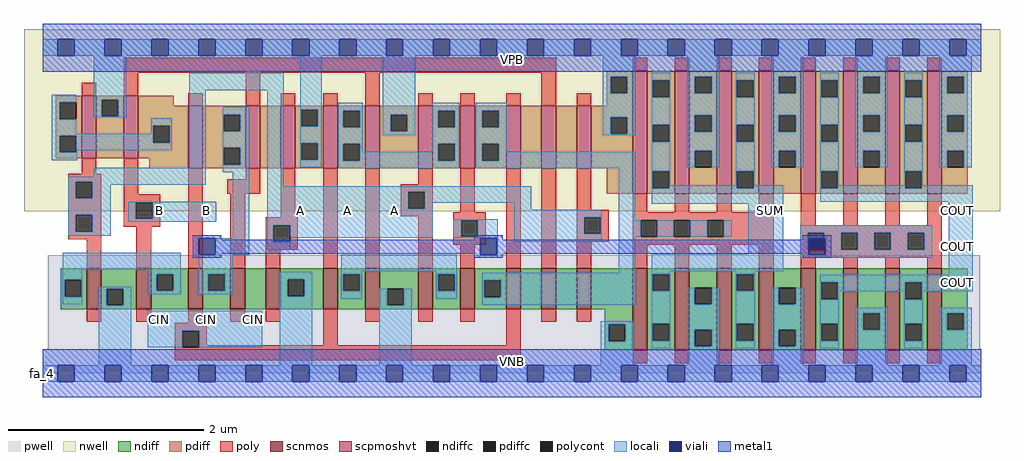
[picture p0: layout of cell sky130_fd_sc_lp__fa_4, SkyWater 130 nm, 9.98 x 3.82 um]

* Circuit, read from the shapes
.subckt sky130_fd_sc_lp__fa_4 A B CIN VGND VNB VPB VPWR COUT SUM
XM1 VGND A n1 VNB sky130_fd_pr__nfet_01v8 w=0.42 l=0.15
XM2 n1 B VGND VNB sky130_fd_pr__nfet_01v8 w=0.42 l=0.15
XM3 n2 CIN n1 VNB sky130_fd_pr__nfet_01v8 w=0.42 l=0.15
XM4 n3 B n2 VNB sky130_fd_pr__nfet_01v8 w=0.42 l=0.15
XM5 VGND A n3 VNB sky130_fd_pr__nfet_01v8 w=0.42 l=0.15
XM6 n4 CIN VGND VNB sky130_fd_pr__nfet_01v8 w=0.42 l=0.15
XM7 VGND B n4 VNB sky130_fd_pr__nfet_01v8 w=0.42 l=0.15
XM8 n4 A VGND VNB sky130_fd_pr__nfet_01v8 w=0.42 l=0.15
XM9 n5 n2 n4 VNB sky130_fd_pr__nfet_01v8 w=0.42 l=0.15
XM10 n6 CIN n5 VNB sky130_fd_pr__nfet_01v8 w=0.42 l=0.15
XM11 n7 B n6 VNB sky130_fd_pr__nfet_01v8 w=0.42 l=0.15
XM12 VGND A n7 VNB sky130_fd_pr__nfet_01v8 w=0.42 l=0.15
XM13 SUM n5 VGND VNB sky130_fd_pr__nfet_01v8 w=0.84 l=0.15 m=4
XM14 COUT n2 VGND VNB sky130_fd_pr__nfet_01v8 w=0.84 l=0.15 m=4
XM15 VPWR A n8 VPB sky130_fd_pr__pfet_01v8_hvt w=0.64 l=0.15
XM16 n8 B VPWR VPB sky130_fd_pr__pfet_01v8_hvt w=0.64 l=0.15
XM17 n2 CIN n8 VPB sky130_fd_pr__pfet_01v8_hvt w=0.64 l=0.15
XM18 n9 B n2 VPB sky130_fd_pr__pfet_01v8_hvt w=0.64 l=0.15
XM19 VPWR A n9 VPB sky130_fd_pr__pfet_01v8_hvt w=0.64 l=0.15
XM20 n10 CIN VPWR VPB sky130_fd_pr__pfet_01v8_hvt w=0.64 l=0.15
XM21 VPWR B n10 VPB sky130_fd_pr__pfet_01v8_hvt w=0.64 l=0.15
XM22 n10 A VPWR VPB sky130_fd_pr__pfet_01v8_hvt w=0.64 l=0.15
XM23 n5 n2 n10 VPB sky130_fd_pr__pfet_01v8_hvt w=0.64 l=0.15
XM24 n11 CIN n5 VPB sky130_fd_pr__pfet_01v8_hvt w=0.64 l=0.15
XM25 n12 B n11 VPB sky130_fd_pr__pfet_01v8_hvt w=0.64 l=0.15
XM26 VPWR A n12 VPB sky130_fd_pr__pfet_01v8_hvt w=0.64 l=0.15
XM27 SUM n5 VPWR VPB sky130_fd_pr__pfet_01v8_hvt w=1.26 l=0.15 m=4
XM28 COUT n2 VPWR VPB sky130_fd_pr__pfet_01v8_hvt w=1.26 l=0.15 m=4
.ends

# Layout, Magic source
magic
tech sky130A
magscale 1 2
<< nwell >>
rect -38 331 1958 704
<< pwell >>
rect 11 49 1918 241
rect 0 0 1920 49
<< scnmos >>
rect 90 131 120 215
rect 192 131 222 215
rect 298 131 328 215
rect 384 131 414 215
rect 456 131 486 215
rect 574 131 604 215
rect 660 131 690 215
rect 768 131 798 215
rect 854 131 884 215
rect 948 131 978 215
rect 1020 131 1050 215
rect 1092 131 1122 215
rect 1207 47 1237 215
rect 1293 47 1323 215
rect 1379 47 1409 215
rect 1465 47 1495 215
rect 1551 47 1581 215
rect 1637 47 1667 215
rect 1723 47 1753 215
rect 1809 47 1839 215
<< scpmoshvt >>
rect 80 440 110 568
rect 166 440 196 568
rect 298 419 328 547
rect 415 419 445 547
rect 487 419 517 547
rect 574 419 604 547
rect 660 419 690 547
rect 768 419 798 547
rect 854 419 884 547
rect 948 419 978 547
rect 1020 419 1050 547
rect 1092 419 1122 547
rect 1207 367 1237 619
rect 1293 367 1323 619
rect 1379 367 1409 619
rect 1465 367 1495 619
rect 1551 367 1581 619
rect 1637 367 1667 619
rect 1723 367 1753 619
rect 1809 367 1839 619
<< ndiff >>
rect 37 191 90 215
rect 37 157 45 191
rect 79 157 90 191
rect 37 131 90 157
rect 120 173 192 215
rect 120 139 131 173
rect 165 139 192 173
rect 120 131 192 139
rect 222 203 298 215
rect 222 169 233 203
rect 267 169 298 203
rect 222 131 298 169
rect 328 203 384 215
rect 328 169 339 203
rect 373 169 384 203
rect 328 131 384 169
rect 414 131 456 215
rect 486 192 574 215
rect 486 158 501 192
rect 535 158 574 192
rect 486 131 574 158
rect 604 203 660 215
rect 604 169 615 203
rect 649 169 660 203
rect 604 131 660 169
rect 690 173 768 215
rect 690 139 705 173
rect 739 139 768 173
rect 690 131 768 139
rect 798 203 854 215
rect 798 169 809 203
rect 843 169 854 203
rect 798 131 854 169
rect 884 190 948 215
rect 884 156 903 190
rect 937 156 948 190
rect 884 131 948 156
rect 978 131 1020 215
rect 1050 131 1092 215
rect 1122 131 1207 215
rect 1150 100 1207 131
rect 1150 66 1158 100
rect 1192 66 1207 100
rect 1150 47 1207 66
rect 1237 203 1293 215
rect 1237 169 1248 203
rect 1282 169 1293 203
rect 1237 101 1293 169
rect 1237 67 1248 101
rect 1282 67 1293 101
rect 1237 47 1293 67
rect 1323 175 1379 215
rect 1323 141 1334 175
rect 1368 141 1379 175
rect 1323 89 1379 141
rect 1323 55 1334 89
rect 1368 55 1379 89
rect 1323 47 1379 55
rect 1409 203 1465 215
rect 1409 169 1420 203
rect 1454 169 1465 203
rect 1409 101 1465 169
rect 1409 67 1420 101
rect 1454 67 1465 101
rect 1409 47 1465 67
rect 1495 175 1551 215
rect 1495 141 1506 175
rect 1540 141 1551 175
rect 1495 89 1551 141
rect 1495 55 1506 89
rect 1540 55 1551 89
rect 1495 47 1551 55
rect 1581 186 1637 215
rect 1581 152 1592 186
rect 1626 152 1637 186
rect 1581 101 1637 152
rect 1581 67 1592 101
rect 1626 67 1637 101
rect 1581 47 1637 67
rect 1667 123 1723 215
rect 1667 89 1678 123
rect 1712 89 1723 123
rect 1667 47 1723 89
rect 1753 186 1809 215
rect 1753 152 1764 186
rect 1798 152 1809 186
rect 1753 101 1809 152
rect 1753 67 1764 101
rect 1798 67 1809 101
rect 1753 47 1809 67
rect 1839 123 1892 215
rect 1839 89 1850 123
rect 1884 89 1892 123
rect 1839 47 1892 89
<< pdiff >>
rect 27 554 80 568
rect 27 520 35 554
rect 69 520 80 554
rect 27 486 80 520
rect 27 452 35 486
rect 69 452 80 486
rect 27 440 80 452
rect 110 560 166 568
rect 110 526 121 560
rect 155 526 166 560
rect 110 440 166 526
rect 196 547 268 568
rect 1154 607 1207 619
rect 1154 573 1162 607
rect 1196 573 1207 607
rect 1154 547 1207 573
rect 196 506 298 547
rect 196 472 226 506
rect 260 472 298 506
rect 196 440 298 472
rect 218 419 298 440
rect 328 529 415 547
rect 328 495 370 529
rect 404 495 415 529
rect 328 461 415 495
rect 328 427 370 461
rect 404 427 415 461
rect 328 419 415 427
rect 445 419 487 547
rect 517 539 574 547
rect 517 505 529 539
rect 563 505 574 539
rect 517 471 574 505
rect 517 437 529 471
rect 563 437 574 471
rect 517 419 574 437
rect 604 537 660 547
rect 604 503 615 537
rect 649 503 660 537
rect 604 469 660 503
rect 604 435 615 469
rect 649 435 660 469
rect 604 419 660 435
rect 690 529 768 547
rect 690 495 712 529
rect 746 495 768 529
rect 690 419 768 495
rect 798 537 854 547
rect 798 503 809 537
rect 843 503 854 537
rect 798 469 854 503
rect 798 435 809 469
rect 843 435 854 469
rect 798 419 854 435
rect 884 537 948 547
rect 884 503 899 537
rect 933 503 948 537
rect 884 469 948 503
rect 884 435 899 469
rect 933 435 948 469
rect 884 419 948 435
rect 978 419 1020 547
rect 1050 419 1092 547
rect 1122 524 1207 547
rect 1122 490 1162 524
rect 1196 490 1207 524
rect 1122 419 1207 490
rect 1154 367 1207 419
rect 1237 599 1293 619
rect 1237 565 1248 599
rect 1282 565 1293 599
rect 1237 508 1293 565
rect 1237 474 1248 508
rect 1282 474 1293 508
rect 1237 413 1293 474
rect 1237 379 1248 413
rect 1282 379 1293 413
rect 1237 367 1293 379
rect 1323 607 1379 619
rect 1323 573 1334 607
rect 1368 573 1379 607
rect 1323 528 1379 573
rect 1323 494 1334 528
rect 1368 494 1379 528
rect 1323 455 1379 494
rect 1323 421 1334 455
rect 1368 421 1379 455
rect 1323 367 1379 421
rect 1409 599 1465 619
rect 1409 565 1420 599
rect 1454 565 1465 599
rect 1409 508 1465 565
rect 1409 474 1420 508
rect 1454 474 1465 508
rect 1409 413 1465 474
rect 1409 379 1420 413
rect 1454 379 1465 413
rect 1409 367 1465 379
rect 1495 607 1551 619
rect 1495 573 1506 607
rect 1540 573 1551 607
rect 1495 528 1551 573
rect 1495 494 1506 528
rect 1540 494 1551 528
rect 1495 455 1551 494
rect 1495 421 1506 455
rect 1540 421 1551 455
rect 1495 367 1551 421
rect 1581 599 1637 619
rect 1581 565 1592 599
rect 1626 565 1637 599
rect 1581 508 1637 565
rect 1581 474 1592 508
rect 1626 474 1637 508
rect 1581 413 1637 474
rect 1581 379 1592 413
rect 1626 379 1637 413
rect 1581 367 1637 379
rect 1667 607 1723 619
rect 1667 573 1678 607
rect 1712 573 1723 607
rect 1667 528 1723 573
rect 1667 494 1678 528
rect 1712 494 1723 528
rect 1667 455 1723 494
rect 1667 421 1678 455
rect 1712 421 1723 455
rect 1667 367 1723 421
rect 1753 599 1809 619
rect 1753 565 1764 599
rect 1798 565 1809 599
rect 1753 508 1809 565
rect 1753 474 1764 508
rect 1798 474 1809 508
rect 1753 413 1809 474
rect 1753 379 1764 413
rect 1798 379 1809 413
rect 1753 367 1809 379
rect 1839 607 1892 619
rect 1839 573 1850 607
rect 1884 573 1892 607
rect 1839 528 1892 573
rect 1839 494 1850 528
rect 1884 494 1892 528
rect 1839 455 1892 494
rect 1839 421 1850 455
rect 1884 421 1892 455
rect 1839 367 1892 421
<< ndiffc >>
rect 45 157 79 191
rect 131 139 165 173
rect 233 169 267 203
rect 339 169 373 203
rect 501 158 535 192
rect 615 169 649 203
rect 705 139 739 173
rect 809 169 843 203
rect 903 156 937 190
rect 1158 66 1192 100
rect 1248 169 1282 203
rect 1248 67 1282 101
rect 1334 141 1368 175
rect 1334 55 1368 89
rect 1420 169 1454 203
rect 1420 67 1454 101
rect 1506 141 1540 175
rect 1506 55 1540 89
rect 1592 152 1626 186
rect 1592 67 1626 101
rect 1678 89 1712 123
rect 1764 152 1798 186
rect 1764 67 1798 101
rect 1850 89 1884 123
<< pdiffc >>
rect 35 520 69 554
rect 35 452 69 486
rect 121 526 155 560
rect 1162 573 1196 607
rect 226 472 260 506
rect 370 495 404 529
rect 370 427 404 461
rect 529 505 563 539
rect 529 437 563 471
rect 615 503 649 537
rect 615 435 649 469
rect 712 495 746 529
rect 809 503 843 537
rect 809 435 843 469
rect 899 503 933 537
rect 899 435 933 469
rect 1162 490 1196 524
rect 1248 565 1282 599
rect 1248 474 1282 508
rect 1248 379 1282 413
rect 1334 573 1368 607
rect 1334 494 1368 528
rect 1334 421 1368 455
rect 1420 565 1454 599
rect 1420 474 1454 508
rect 1420 379 1454 413
rect 1506 573 1540 607
rect 1506 494 1540 528
rect 1506 421 1540 455
rect 1592 565 1626 599
rect 1592 474 1626 508
rect 1592 379 1626 413
rect 1678 573 1712 607
rect 1678 494 1712 528
rect 1678 421 1712 455
rect 1764 565 1798 599
rect 1764 474 1798 508
rect 1764 379 1798 413
rect 1850 573 1884 607
rect 1850 494 1884 528
rect 1850 421 1884 455
<< poly >>
rect 166 615 1050 645
rect 1207 619 1237 645
rect 1293 619 1323 645
rect 1379 619 1409 645
rect 1465 619 1495 645
rect 1551 619 1581 645
rect 1637 619 1667 645
rect 1723 619 1753 645
rect 1809 619 1839 645
rect 80 568 110 594
rect 166 568 196 615
rect 298 547 328 573
rect 415 547 445 615
rect 487 547 517 573
rect 574 547 604 573
rect 660 547 690 615
rect 768 547 798 573
rect 854 547 884 573
rect 948 547 978 573
rect 1020 547 1050 615
rect 1092 547 1122 573
rect 80 408 110 440
rect 52 392 120 408
rect 52 358 68 392
rect 102 358 120 392
rect 52 324 120 358
rect 52 290 68 324
rect 102 290 120 324
rect 166 366 196 440
rect 166 350 241 366
rect 166 316 191 350
rect 225 316 241 350
rect 166 300 241 316
rect 52 274 120 290
rect 90 215 120 274
rect 192 215 222 300
rect 298 215 328 419
rect 415 397 445 419
rect 378 367 445 397
rect 384 215 414 367
rect 487 319 517 419
rect 456 303 522 319
rect 456 269 472 303
rect 506 269 522 303
rect 456 253 522 269
rect 456 215 486 253
rect 574 215 604 419
rect 660 215 690 419
rect 768 387 798 419
rect 732 371 798 387
rect 732 337 748 371
rect 782 337 798 371
rect 732 321 798 337
rect 854 329 884 419
rect 768 215 798 321
rect 840 313 906 329
rect 840 279 856 313
rect 890 279 906 313
rect 840 263 906 279
rect 854 215 884 263
rect 948 215 978 419
rect 1020 215 1050 419
rect 1092 335 1122 419
rect 1092 319 1158 335
rect 1092 285 1108 319
rect 1142 285 1158 319
rect 1092 269 1158 285
rect 1207 329 1237 367
rect 1293 329 1323 367
rect 1379 329 1409 367
rect 1465 329 1495 367
rect 1207 313 1495 329
rect 1207 279 1223 313
rect 1257 279 1291 313
rect 1325 279 1359 313
rect 1393 279 1495 313
rect 1551 303 1581 367
rect 1637 303 1667 367
rect 1723 303 1753 367
rect 1809 303 1839 367
rect 1092 215 1122 269
rect 1207 263 1495 279
rect 1207 215 1237 263
rect 1293 215 1323 263
rect 1379 215 1409 263
rect 1465 215 1495 263
rect 1549 287 1839 303
rect 1549 253 1565 287
rect 1599 253 1633 287
rect 1667 253 1701 287
rect 1735 253 1769 287
rect 1803 253 1839 287
rect 1549 237 1839 253
rect 1551 215 1581 237
rect 1637 215 1667 237
rect 1723 215 1753 237
rect 1809 215 1839 237
rect 90 105 120 131
rect 192 105 222 131
rect 298 103 328 131
rect 384 105 414 131
rect 456 105 486 131
rect 270 87 336 103
rect 270 53 286 87
rect 320 57 336 87
rect 574 57 604 131
rect 660 105 690 131
rect 768 105 798 131
rect 854 105 884 131
rect 948 57 978 131
rect 1020 105 1050 131
rect 1092 105 1122 131
rect 320 53 978 57
rect 270 27 978 53
rect 1207 21 1237 47
rect 1293 21 1323 47
rect 1379 21 1409 47
rect 1465 21 1495 47
rect 1551 21 1581 47
rect 1637 21 1667 47
rect 1723 21 1753 47
rect 1809 21 1839 47
<< polycont >>
rect 68 358 102 392
rect 68 290 102 324
rect 191 316 225 350
rect 472 269 506 303
rect 748 337 782 371
rect 856 279 890 313
rect 1108 285 1142 319
rect 1223 279 1257 313
rect 1291 279 1325 313
rect 1359 279 1393 313
rect 1565 253 1599 287
rect 1633 253 1667 287
rect 1701 253 1735 287
rect 1769 253 1803 287
rect 286 53 320 87
<< locali >>
rect 0 649 31 683
rect 65 649 127 683
rect 161 649 223 683
rect 257 649 319 683
rect 353 649 415 683
rect 449 649 511 683
rect 545 649 607 683
rect 641 649 703 683
rect 737 649 799 683
rect 833 649 895 683
rect 929 649 991 683
rect 1025 649 1087 683
rect 1121 649 1183 683
rect 1217 649 1279 683
rect 1313 649 1375 683
rect 1409 649 1471 683
rect 1505 649 1567 683
rect 1601 649 1663 683
rect 1697 649 1759 683
rect 1793 649 1855 683
rect 1889 649 1920 683
rect 19 554 69 570
rect 19 520 35 554
rect 105 560 171 649
rect 105 526 121 560
rect 155 526 171 560
rect 105 524 171 526
rect 300 579 493 615
rect 19 490 69 520
rect 222 506 264 522
rect 222 490 226 506
rect 19 486 226 490
rect 19 452 35 486
rect 69 472 226 486
rect 260 472 264 506
rect 69 456 264 472
rect 69 452 71 456
rect 19 436 71 452
rect 300 420 334 579
rect 105 402 334 420
rect 368 529 423 545
rect 368 495 370 529
rect 404 495 423 529
rect 368 461 423 495
rect 368 427 370 461
rect 404 427 423 461
rect 368 411 423 427
rect 52 392 334 402
rect 52 358 68 392
rect 102 386 334 392
rect 102 358 139 386
rect 52 324 139 358
rect 52 290 68 324
rect 102 290 139 324
rect 175 350 355 351
rect 175 316 191 350
rect 225 316 355 350
rect 175 310 355 316
rect 52 281 139 290
rect 389 276 423 411
rect 41 213 283 247
rect 41 191 81 213
rect 41 157 45 191
rect 79 157 81 191
rect 217 203 283 213
rect 41 141 81 157
rect 115 173 181 177
rect 115 139 131 173
rect 165 139 181 173
rect 217 169 233 203
rect 267 169 283 203
rect 217 162 283 169
rect 353 242 423 276
rect 459 383 493 579
rect 527 539 571 649
rect 527 505 529 539
rect 563 505 571 539
rect 527 471 571 505
rect 527 437 529 471
rect 563 437 571 471
rect 527 421 571 437
rect 605 537 655 553
rect 605 503 615 537
rect 649 503 655 537
rect 605 469 655 503
rect 696 529 762 649
rect 1146 607 1212 649
rect 1146 573 1162 607
rect 1196 573 1212 607
rect 696 495 712 529
rect 746 495 762 529
rect 696 487 762 495
rect 796 537 852 553
rect 796 503 809 537
rect 843 503 852 537
rect 605 435 615 469
rect 649 453 655 469
rect 796 469 852 503
rect 796 453 809 469
rect 649 435 809 453
rect 843 435 852 469
rect 605 419 852 435
rect 886 537 949 553
rect 886 503 899 537
rect 933 503 949 537
rect 886 469 949 503
rect 1146 524 1212 573
rect 1146 490 1162 524
rect 1196 490 1212 524
rect 1146 487 1212 490
rect 1246 599 1284 615
rect 1246 565 1248 599
rect 1282 565 1284 599
rect 1246 508 1284 565
rect 886 435 899 469
rect 933 453 949 469
rect 1246 474 1248 508
rect 1282 474 1284 508
rect 933 435 1212 453
rect 886 419 1212 435
rect 459 371 999 383
rect 459 337 748 371
rect 782 349 999 371
rect 782 337 798 349
rect 459 303 798 337
rect 965 335 999 349
rect 965 319 1144 335
rect 459 269 472 303
rect 506 277 798 303
rect 840 313 931 315
rect 840 279 856 313
rect 890 279 931 313
rect 840 277 931 279
rect 459 253 506 269
rect 895 276 931 277
rect 319 203 389 242
rect 611 209 847 243
rect 929 242 931 276
rect 965 285 1108 319
rect 1142 285 1144 319
rect 965 269 1144 285
rect 1178 313 1212 419
rect 1246 413 1284 474
rect 1318 607 1384 649
rect 1318 573 1334 607
rect 1368 573 1384 607
rect 1318 528 1384 573
rect 1318 494 1334 528
rect 1368 494 1384 528
rect 1318 455 1384 494
rect 1318 421 1334 455
rect 1368 421 1384 455
rect 1418 599 1456 615
rect 1418 565 1420 599
rect 1454 565 1456 599
rect 1418 508 1456 565
rect 1418 474 1420 508
rect 1454 474 1456 508
rect 1246 379 1248 413
rect 1282 385 1284 413
rect 1418 413 1456 474
rect 1490 607 1556 649
rect 1490 573 1506 607
rect 1540 573 1556 607
rect 1490 528 1556 573
rect 1490 494 1506 528
rect 1540 494 1556 528
rect 1490 455 1556 494
rect 1490 421 1506 455
rect 1540 421 1556 455
rect 1590 599 1628 615
rect 1590 565 1592 599
rect 1626 565 1628 599
rect 1590 508 1628 565
rect 1590 474 1592 508
rect 1626 474 1628 508
rect 1418 385 1420 413
rect 1282 379 1420 385
rect 1454 385 1456 413
rect 1590 413 1628 474
rect 1662 607 1728 649
rect 1662 573 1678 607
rect 1712 573 1728 607
rect 1662 528 1728 573
rect 1662 494 1678 528
rect 1712 494 1728 528
rect 1662 455 1728 494
rect 1662 421 1678 455
rect 1712 421 1728 455
rect 1762 599 1800 615
rect 1762 565 1764 599
rect 1798 565 1800 599
rect 1762 508 1800 565
rect 1762 474 1764 508
rect 1798 474 1800 508
rect 1454 379 1515 385
rect 1246 347 1515 379
rect 1590 379 1592 413
rect 1626 385 1628 413
rect 1762 413 1800 474
rect 1834 607 1900 649
rect 1834 573 1850 607
rect 1884 573 1900 607
rect 1834 528 1900 573
rect 1834 494 1850 528
rect 1884 494 1900 528
rect 1834 455 1900 494
rect 1834 421 1850 455
rect 1884 421 1900 455
rect 1762 385 1764 413
rect 1626 379 1764 385
rect 1798 385 1800 413
rect 1798 379 1902 385
rect 1590 351 1902 379
rect 1178 279 1223 313
rect 1257 279 1291 313
rect 1325 279 1359 313
rect 1393 279 1409 313
rect 895 240 931 242
rect 319 169 339 203
rect 373 169 389 203
rect 319 162 389 169
rect 485 192 551 208
rect 115 17 181 139
rect 485 158 501 192
rect 535 158 551 192
rect 215 87 449 128
rect 215 53 286 87
rect 320 53 449 87
rect 485 17 551 158
rect 611 203 653 209
rect 611 169 615 203
rect 649 169 653 203
rect 805 203 847 209
rect 1178 206 1212 279
rect 1443 245 1515 347
rect 611 153 653 169
rect 689 139 705 173
rect 739 139 755 173
rect 805 169 809 203
rect 843 169 847 203
rect 805 153 847 169
rect 899 190 1212 206
rect 899 156 903 190
rect 937 156 1212 190
rect 899 140 1212 156
rect 1246 209 1515 245
rect 1549 287 1819 303
rect 1549 253 1565 287
rect 1599 276 1633 287
rect 1601 253 1633 276
rect 1667 253 1701 287
rect 1735 253 1769 287
rect 1803 253 1819 287
rect 1549 242 1567 253
rect 1601 242 1819 253
rect 1549 236 1819 242
rect 1246 203 1284 209
rect 1246 169 1248 203
rect 1282 169 1284 203
rect 1418 203 1456 209
rect 689 17 755 139
rect 1142 100 1208 106
rect 1142 66 1158 100
rect 1192 66 1208 100
rect 1142 17 1208 66
rect 1246 101 1284 169
rect 1246 67 1248 101
rect 1282 67 1284 101
rect 1246 51 1284 67
rect 1318 141 1334 175
rect 1368 141 1384 175
rect 1318 89 1384 141
rect 1318 55 1334 89
rect 1368 55 1384 89
rect 1318 17 1384 55
rect 1418 169 1420 203
rect 1454 169 1456 203
rect 1853 202 1902 351
rect 1590 186 1902 202
rect 1418 101 1456 169
rect 1418 67 1420 101
rect 1454 67 1456 101
rect 1418 51 1456 67
rect 1490 141 1506 175
rect 1540 141 1556 175
rect 1490 89 1556 141
rect 1490 55 1506 89
rect 1540 55 1556 89
rect 1490 17 1556 55
rect 1590 152 1592 186
rect 1626 168 1764 186
rect 1626 152 1628 168
rect 1590 101 1628 152
rect 1762 152 1764 168
rect 1798 168 1902 186
rect 1798 152 1800 168
rect 1590 67 1592 101
rect 1626 67 1628 101
rect 1590 51 1628 67
rect 1662 123 1728 134
rect 1662 89 1678 123
rect 1712 89 1728 123
rect 1662 17 1728 89
rect 1762 101 1800 152
rect 1762 67 1764 101
rect 1798 67 1800 101
rect 1762 51 1800 67
rect 1834 123 1900 134
rect 1834 89 1850 123
rect 1884 89 1900 123
rect 1834 17 1900 89
rect 0 -17 31 17
rect 65 -17 127 17
rect 161 -17 223 17
rect 257 -17 319 17
rect 353 -17 415 17
rect 449 -17 511 17
rect 545 -17 607 17
rect 641 -17 703 17
rect 737 -17 799 17
rect 833 -17 895 17
rect 929 -17 991 17
rect 1025 -17 1087 17
rect 1121 -17 1183 17
rect 1217 -17 1279 17
rect 1313 -17 1375 17
rect 1409 -17 1471 17
rect 1505 -17 1567 17
rect 1601 -17 1663 17
rect 1697 -17 1759 17
rect 1793 -17 1855 17
rect 1889 -17 1920 17
<< viali >>
rect 31 649 65 683
rect 127 649 161 683
rect 223 649 257 683
rect 319 649 353 683
rect 415 649 449 683
rect 511 649 545 683
rect 607 649 641 683
rect 703 649 737 683
rect 799 649 833 683
rect 895 649 929 683
rect 991 649 1025 683
rect 1087 649 1121 683
rect 1183 649 1217 683
rect 1279 649 1313 683
rect 1375 649 1409 683
rect 1471 649 1505 683
rect 1567 649 1601 683
rect 1663 649 1697 683
rect 1759 649 1793 683
rect 1855 649 1889 683
rect 319 242 353 276
rect 895 242 929 276
rect 1567 253 1599 276
rect 1599 253 1601 276
rect 1567 242 1601 253
rect 31 -17 65 17
rect 127 -17 161 17
rect 223 -17 257 17
rect 319 -17 353 17
rect 415 -17 449 17
rect 511 -17 545 17
rect 607 -17 641 17
rect 703 -17 737 17
rect 799 -17 833 17
rect 895 -17 929 17
rect 991 -17 1025 17
rect 1087 -17 1121 17
rect 1183 -17 1217 17
rect 1279 -17 1313 17
rect 1375 -17 1409 17
rect 1471 -17 1505 17
rect 1567 -17 1601 17
rect 1663 -17 1697 17
rect 1759 -17 1793 17
rect 1855 -17 1889 17
<< metal1 >>
rect 0 683 1920 715
rect 0 649 31 683
rect 65 649 127 683
rect 161 649 223 683
rect 257 649 319 683
rect 353 649 415 683
rect 449 649 511 683
rect 545 649 607 683
rect 641 649 703 683
rect 737 649 799 683
rect 833 649 895 683
rect 929 649 991 683
rect 1025 649 1087 683
rect 1121 649 1183 683
rect 1217 649 1279 683
rect 1313 649 1375 683
rect 1409 649 1471 683
rect 1505 649 1567 683
rect 1601 649 1663 683
rect 1697 649 1759 683
rect 1793 649 1855 683
rect 1889 649 1920 683
rect 0 617 1920 649
rect 307 276 365 282
rect 307 242 319 276
rect 353 273 365 276
rect 883 276 941 282
rect 883 273 895 276
rect 353 245 895 273
rect 353 242 365 245
rect 307 236 365 242
rect 883 242 895 245
rect 929 273 941 276
rect 1555 276 1613 282
rect 1555 273 1567 276
rect 929 245 1567 273
rect 929 242 941 245
rect 883 236 941 242
rect 1555 242 1567 245
rect 1601 242 1613 276
rect 1555 236 1613 242
rect 0 17 1920 49
rect 0 -17 31 17
rect 65 -17 127 17
rect 161 -17 223 17
rect 257 -17 319 17
rect 353 -17 415 17
rect 449 -17 511 17
rect 545 -17 607 17
rect 641 -17 703 17
rect 737 -17 799 17
rect 833 -17 895 17
rect 929 -17 991 17
rect 1025 -17 1087 17
rect 1121 -17 1183 17
rect 1217 -17 1279 17
rect 1313 -17 1375 17
rect 1409 -17 1471 17
rect 1505 -17 1567 17
rect 1601 -17 1663 17
rect 1697 -17 1759 17
rect 1793 -17 1855 17
rect 1889 -17 1920 17
rect 0 -49 1920 -17
<< labels >>
flabel pwell s 0 0 1920 49 0 FreeSans 200 0 0 0 VNB
port 5 nsew ground bidirectional
flabel nwell s 0 617 1920 666 0 FreeSans 200 0 0 0 VPB
port 6 nsew power bidirectional
rlabel comment s 0 0 0 0 4 fa_4
flabel metal1 s 0 617 1920 666 0 FreeSans 340 0 0 0 VPWR
port 7 nsew power bidirectional
flabel metal1 s 0 0 1920 49 0 FreeSans 340 0 0 0 VGND
port 4 nsew ground bidirectional
flabel locali s 223 316 257 350 0 FreeSans 340 0 0 0 B
port 2 nsew signal input
flabel locali s 319 316 353 350 0 FreeSans 340 0 0 0 B
port 2 nsew signal input
flabel locali s 511 316 545 350 0 FreeSans 340 0 0 0 A
port 1 nsew signal input
flabel locali s 607 316 641 350 0 FreeSans 340 0 0 0 A
port 1 nsew signal input
flabel locali s 703 316 737 350 0 FreeSans 340 0 0 0 A
port 1 nsew signal input
flabel locali s 1855 168 1889 202 0 FreeSans 340 0 0 0 COUT
port 8 nsew signal output
flabel locali s 1855 242 1889 276 0 FreeSans 340 0 0 0 COUT
port 8 nsew signal output
flabel locali s 1855 316 1889 350 0 FreeSans 340 0 0 0 COUT
port 8 nsew signal output
flabel locali s 1471 316 1505 350 0 FreeSans 340 0 0 0 SUM
port 9 nsew signal output
flabel locali s 223 94 257 128 0 FreeSans 340 0 0 0 CIN
port 3 nsew signal input
flabel locali s 319 94 353 128 0 FreeSans 340 0 0 0 CIN
port 3 nsew signal input
flabel locali s 415 94 449 128 0 FreeSans 340 0 0 0 CIN
port 3 nsew signal input
<< properties >>
string LEFsite unit
string LEFclass CORE
string FIXED_BBOX 0 0 1920 666
string GDS_FILE $PDKPATH/libs.ref/sky130_fd_sc_lp/gds/sky130_fd_sc_lp.gds
string LEFsymmetry X Y R90
string GDS_END 2472800
string GDS_START 2457840
<< end >>
